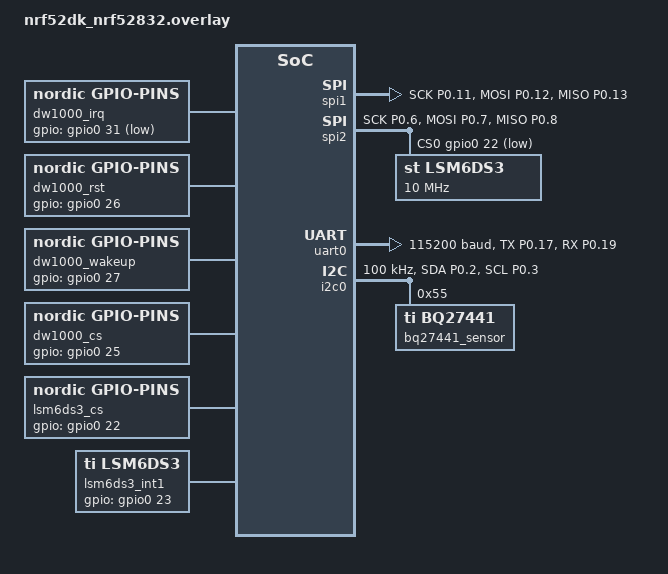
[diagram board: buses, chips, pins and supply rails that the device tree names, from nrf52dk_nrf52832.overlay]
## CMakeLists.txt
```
#
# Copyright (c) 2018 Nordic Semiconductor
#
# SPDX-License-Identifier: LicenseRef-Nordic-5-Clause
#
cmake_minimum_required(VERSION 3.20.0)

find_package(Zephyr REQUIRED HINTS $ENV{ZEPHYR_BASE})


project(peripheral_52832)

target_include_directories(app PRIVATE src/lib/platform)
target_include_directories(app PRIVATE src/lib/decadriver)
target_include_directories(app PRIVATE src/lib/dw_twr)
target_include_directories(app PRIVATE src/lib/bms_driver)
target_include_directories(app PRIVATE src/lib/imu_driver)

# NORDIC SDK APP START
target_sources(app PRIVATE
  src/main.c
  src/lib/platform/port.c
  src/lib/platform/deca_spi.c
  src/lib/platform/deca_port.c
  src/lib/decadriver/deca_device.c
  src/lib/decadriver/deca_params_init.c
  src/lib/dw_twr/node.c
  src/lib/bms_driver/bq27441_driver.c
  src/lib/imu_driver/lsm6ds3_spi_driver.c
  src/lib/imu_driver/lsm6ds3_angle.c
)

# NORDIC SDK APP END
```

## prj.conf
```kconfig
#
# Copyright (c) 2018 Nordic Semiconductor
#
# SPDX-License-Identifier: LicenseRef-Nordic-5-Clause
#

# Enable the UART driver
CONFIG_UART_ASYNC_API=y
CONFIG_NRFX_UARTE=y
CONFIG_SERIAL=y

CONFIG_GPIO=y
CONFIG_SPI=y
CONFIG_SPI_NRFX=y
CONFIG_I2C=y

# Make sure printk is printing to the UART console
CONFIG_CONSOLE=y
CONFIG_UART_CONSOLE=y

CONFIG_HEAP_MEM_POOL_SIZE=2048

CONFIG_BT=y
CONFIG_BT_PERIPHERAL=y
CONFIG_BT_DEVICE_NAME="Nordic_UART_Service"
CONFIG_BT_MAX_CONN=3
CONFIG_BT_MAX_PAIRED=1

# Enable the NUS service
CONFIG_BT_NUS=y

# Enable bonding
CONFIG_BT_SETTINGS=y
CONFIG_FLASH=y
CONFIG_FLASH_PAGE_LAYOUT=y
CONFIG_FLASH_MAP=y

# Enable DK LED and Buttons library
CONFIG_DK_LIBRARY=y

CONFIG_SYSTEM_WORKQUEUE_STACK_SIZE=2048
# Config logger
CONFIG_LOG=y
CONFIG_USE_SEGGER_RTT=y
CONFIG_LOG_BACKEND_RTT=y
CONFIG_LOG_BACKEND_UART=n
CONFIG_LOG_PRINTK=n

CONFIG_ASSERT=y

CONFIG_CBPRINTF_FP_SUPPORT=y
```

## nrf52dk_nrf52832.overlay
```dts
/ {

	/delete-node/ leds;
	/delete-node/ buttons;
	/delete-node/ pwmleds;

	/delete-node/ arduino_header;
	/delete-node/ arduino_adc;
	aliases{
		/delete-property/ led0;
		/delete-property/ led1;
		/delete-property/ led2;
		/delete-property/ led3;
		/delete-property/ sw0;
		/delete-property/ sw1;
		/delete-property/ sw2;
		/delete-property/ sw3;
		/delete-property/ pwm-led0;
		/delete-property/ mcuboot-button0;
		/delete-property/ mcuboot-led0;
		bq27441 = &bq27441_sensor;
		lsm6ds3-int1 = &lsm6ds3_int1;
	};

	dw1000_irq: dw1000-irq {
        compatible = "nordic,gpio-pins";
        gpios = <&gpio0 31 GPIO_ACTIVE_LOW>;
        status = "okay";
    };

	dw1000_rst: dw1000-rst {
        compatible = "nordic,gpio-pins";
        gpios = <&gpio0 26 GPIO_ACTIVE_HIGH>;
        status = "okay";
    };

	dw1000_wakeup: dw1000-waleup {
        compatible = "nordic,gpio-pins";
        gpios = <&gpio0 27 GPIO_ACTIVE_HIGH>;
        status = "okay";
    };

	dw1000_cs: dw1000-cs {
        compatible = "nordic,gpio-pins";
        gpios = <&gpio0 25 GPIO_ACTIVE_HIGH>;
        status = "okay";
    };
    	lsm6ds3_cs: lsm6ds3-cs {
        compatible = "nordic,gpio-pins";
        gpios = <&gpio0 22 GPIO_ACTIVE_HIGH>;
        status = "okay";
    };
    	lsm6ds3_int1: lsm6ds3-int1 {
	compatible = "ti,lsm6ds3";
        gpios = <&gpio0 23 GPIO_PULL_UP>;
        status = "okay";
    };
};



&pinctrl {
	spi1_default: spi1_default {
		group1 {
			psels = <NRF_PSEL(SPIM_SCK, 0, 11)>,
					<NRF_PSEL(SPIM_MOSI, 0, 12)>,
					<NRF_PSEL(SPIM_MISO, 0, 13)>;
		};
	};

	spi1_sleep: spi1_sleep {
		group1 {
			psels = <NRF_PSEL(SPIM_SCK, 0, 11)>,
					<NRF_PSEL(SPIM_MOSI, 0, 12)>,
					<NRF_PSEL(SPIM_MISO, 0, 13)>;
			low-power-enable;
		};
	};

	spi2_default: spi2_default {
		group1 {
			psels = <NRF_PSEL(SPIM_SCK, 0, 6)>,
					<NRF_PSEL(SPIM_MOSI, 0, 7)>,
					<NRF_PSEL(SPIM_MISO, 0, 8)>;
		};
	};

	spi2_sleep: spi2_sleep {
		group1 {
			psels = <NRF_PSEL(SPIM_SCK, 0, 6)>,
					<NRF_PSEL(SPIM_MOSI, 0, 7)>,
					<NRF_PSEL(SPIM_MISO, 0, 8)>;
			low-power-enable;
		};
	};

	uart0_default: uart0_default {
		group1 {
			psels = <NRF_PSEL(UART_TX, 0, 17)>,
				<NRF_PSEL(UART_RX, 0, 19)>;
		};
	};

	uart0_sleep: uart0_sleep {
		group1 {
			psels = <NRF_PSEL(UART_RX, 0, 19)>;
			low-power-enable;
		};

		group2 {
			psels = <NRF_PSEL(UART_TX, 0, 17)>;
			low-power-enable;
			bias-pull-up;
		};
	};

	i2c0_default: i2c0_default {
		group1 {
			psels = <NRF_PSEL(TWIM_SDA, 0, 2)>,
				    <NRF_PSEL(TWIM_SCL, 0, 3)>;
		};
	};

	i2c0_sleep: i2c0_sleep {
		group1 {
			psels = <NRF_PSEL(TWIM_SDA, 0, 2)>,
				    <NRF_PSEL(TWIM_SCL, 0, 3)>;
			low-power-enable;
		};
	};
};

&spi1 {
	compatible = "nordic,nrf-spi";
	status = "okay";
	pinctrl-0 = <&spi1_default>;
	pinctrl-1 = <&spi1_sleep>;
	pinctrl-names = "default", "sleep";
	cs-gpios = <&gpio0 25 GPIO_ACTIVE_HIGH>;
};

&spi2 {
	status = "okay";
	pinctrl-0 = <&spi2_default>;
	pinctrl-1 = <&spi2_sleep>;
	pinctrl-names = "default", "sleep";

	cs-gpios = <&gpio0 22 GPIO_ACTIVE_LOW>;

	lsm6ds3: lsm6ds3@0 {
		compatible = "st,lsm6ds3";
		reg = <0>;
		spi-max-frequency = <10000000>;
		frame-format = "spi-mode-0";
	};
};

&pwm0 {
	status = "disabled";
};

arduino_serial: &uart0 {
	status = "okay";
	compatible = "nordic,nrf-uarte";
	current-speed = <115200>;
	pinctrl-0 = <&uart0_default>;
	pinctrl-1 = <&uart0_sleep>;
	pinctrl-names = "default", "sleep";
};

&i2c0 {
	status = "okay";
	pinctrl-0 = <&i2c0_default>;
	pinctrl-1 = <&i2c0_sleep>;
	pinctrl-names = "default", "sleep";
	clock-frequency = <I2C_BITRATE_STANDARD>;

	bq27441_sensor: bq27441@55 {
		compatible = "ti,bq27441";
		reg = <0x55>;
		status = "okay";
	};
};
```

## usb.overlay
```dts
/*
 * Copyright (c) 2021 Nordic Semiconductor ASA
 *
 * SPDX-License-Identifier: LicenseRef-Nordic-5-Clause
 */

/ {
	chosen {
		zephyr,console = &cdc_acm_uart0;
		nordic,nus-uart = &cdc_acm_uart0;
	};
};

&zephyr_udc0 {
	cdc_acm_uart0: cdc_acm_uart0 {
		compatible = "zephyr,cdc-acm-uart";
	};
};

&pinctrl {

};
```

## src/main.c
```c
/*
 * Copyright (c) 2018 Nordic Semiconductor ASA
 *
 * SPDX-License-Identifier: LicenseRef-Nordic-5-Clause
 */

/** @file
 *  @brief Nordic UART Bridge Service (NUS) sample
 */
#include <uart_async_adapter.h>

#include <zephyr/types.h>
#include <zephyr/kernel.h>
#include <zephyr/drivers/uart.h>

#include <zephyr/device.h>
#include <zephyr/devicetree.h>
#include <soc.h>

#include <zephyr/bluetooth/bluetooth.h>
#include <zephyr/bluetooth/uuid.h>
#include <zephyr/bluetooth/gatt.h>
#include <zephyr/bluetooth/hci.h>

#include <bluetooth/services/nus.h>

#include <zephyr/settings/settings.h>

#include <stdio.h>
#include <string.h>

#include <zephyr/logging/log.h>
#include <zephyr/drivers/i2c.h>

#include "node.h"
#include "port.h"
#include "bq27441_driver.h"
#include "lsm6ds3_spi_driver.h"
#include "lsm6ds3_angle.h"

#define LOG_MODULE_NAME peripheral_uart
LOG_MODULE_REGISTER(LOG_MODULE_NAME);

#define STACKSIZE CONFIG_BT_NUS_THREAD_STACK_SIZE
#define PRIORITY 7

#define DEVICE_NAME CONFIG_BT_DEVICE_NAME
#define DEVICE_NAME_LEN	(sizeof(DEVICE_NAME) - 1)

// #define RUN_STATUS_LED DK_LED1
// #define RUN_LED_BLINK_INTERVAL 1000

#define KEY_PASSKEY_ACCEPT DK_BTN1_MSK
#define KEY_PASSKEY_REJECT DK_BTN2_MSK

#define UART_BUF_SIZE CONFIG_BT_NUS_UART_BUFFER_SIZE
#define UART_WAIT_FOR_BUF_DELAY K_MSEC(50)
#define UART_WAIT_FOR_RX CONFIG_BT_NUS_UART_RX_WAIT_TIME

static K_SEM_DEFINE(ble_init_ok, 0, 1);

static struct bt_conn *current_conn;
static struct bt_conn *auth_conn;
static struct k_work adv_work;

#if DT_HAS_CHOSEN(nordic_nus_uart)
#define NUS_UART_NODE DT_CHOSEN(nordic_nus_uart)
#elif DT_HAS_CHOSEN(zephyr_shell_uart)
#define NUS_UART_NODE DT_CHOSEN(zephyr_shell_uart)
#else
#error "No NUS UART: add chosen 'nordic,nus-uart' to devicetree (e.g. in a board overlay)."
#endif
static const struct device *uart = DEVICE_DT_GET(NUS_UART_NODE);
static struct k_work_delayable uart_work;

static const struct spi_dt_spec imu_cfg = {
	.bus = DEVICE_DT_GET(DT_NODELABEL(spi2)),
	.config = {
		.cs = {{{0}}},
		.operation = SPI_OP_MODE_MASTER | SPI_TRANSFER_MSB | SPI_WORD_SET(8),
		.frequency = 10000000U,
		.slave = 0,
		.word_delay = 0,
	},
};

static void motion_work_handler(struct k_work *work);
K_WORK_DEFINE(motion_work, motion_work_handler);

struct uart_data_t {
	void *fifo_reserved;
	uint8_t data[UART_BUF_SIZE];
	uint16_t len;
};

static K_FIFO_DEFINE(fifo_uart_tx_data);
static K_FIFO_DEFINE(fifo_uart_rx_data);

static const struct bt_data ad[] = {
	BT_DATA_BYTES(BT_DATA_FLAGS, (BT_LE_AD_GENERAL | BT_LE_AD_NO_BREDR)),
	BT_DATA(BT_DATA_NAME_COMPLETE, DEVICE_NAME, DEVICE_NAME_LEN),
};

static const struct bt_data sd[] = {
	BT_DATA_BYTES(BT_DATA_UUID128_ALL, BT_UUID_NUS_VAL),
};

#ifdef CONFIG_UART_ASYNC_ADAPTER
UART_ASYNC_ADAPTER_INST_DEFINE(async_adapter);
#else
#define async_adapter NULL
#endif

static void uart_cb(const struct device *dev, struct uart_event *evt, void *user_data)
{
	ARG_UNUSED(dev);

	static size_t aborted_len;
	struct uart_data_t *buf;
	static uint8_t *aborted_buf;
	static bool disable_req;

	switch (evt->type) {
	case UART_TX_DONE:
		LOG_INF("UART_TX_DONE");
		if ((evt->data.tx.len == 0) ||
		    (!evt->data.tx.buf)) {
			return;
		}

		if (aborted_buf) {
			buf = CONTAINER_OF(aborted_buf, struct uart_data_t,
					   data[0]);
			aborted_buf = NULL;
			aborted_len = 0;
		} else {
			buf = CONTAINER_OF(evt->data.tx.buf, struct uart_data_t,
					   data[0]);
		}

		k_free(buf);

		buf = k_fifo_get(&fifo_uart_tx_data, K_NO_WAIT);
		if (!buf) {
			return;
		}

		if (uart_tx(uart, buf->data, buf->len, SYS_FOREVER_MS)) {
			LOG_INF("Failed to send data over UART");
		}

		break;

	case UART_RX_RDY:
		LOG_INF("UART_RX_RDY");
		buf = CONTAINER_OF(evt->data.rx.buf, struct uart_data_t, data[0]);
		buf->len += evt->data.rx.len;

		if (disable_req) {
			return;
		}

		if ((evt->data.rx.buf[buf->len - 1] == '\n') ||
		    (evt->data.rx.buf[buf->len - 1] == '\r')) {
			disable_req = true;
			uart_rx_disable(uart);
		}

		break;

	case UART_RX_DISABLED:
		LOG_INF("UART_RX_DISABLED");
		disable_req = false;

		buf = k_malloc(sizeof(*buf));
		if (buf) {
			buf->len = 0;
		} else {
			LOG_WRN("Not able to allocate UART receive buffer");
			k_work_reschedule(&uart_work, UART_WAIT_FOR_BUF_DELAY);
			return;
		}

		uart_rx_enable(uart, buf->data, sizeof(buf->data),
			       UART_WAIT_FOR_RX);

		break;

	case UART_RX_BUF_REQUEST:
		LOG_INF("UART_RX_BUF_REQUEST");
		buf = k_malloc(sizeof(*buf));
		if (buf) {
			buf->len = 0;
			uart_rx_buf_rsp(uart, buf->data, sizeof(buf->data));
		} else {
			LOG_WRN("Not able to allocate UART receive buffer");
		}

		break;

	case UART_RX_BUF_RELEASED:
		LOG_INF("UART_RX_BUF_RELEASED");
		buf = CONTAINER_OF(evt->data.rx_buf.buf, struct uart_data_t,
				   data[0]);

		if (buf->len > 0) {
			k_fifo_put(&fifo_uart_rx_data, buf);
		} else {
			k_free(buf);
		}

		break;

	case UART_TX_ABORTED:
		LOG_INF("UART_TX_ABORTED");
		if (!aborted_buf) {
			aborted_buf = (uint8_t *)evt->data.tx.buf;
		}

		aborted_len += evt->data.tx.len;
		buf = CONTAINER_OF((void *)aborted_buf, struct uart_data_t,
				   data);

		uart_tx(uart, &buf->data[aborted_len],
			buf->len - aborted_len, SYS_FOREVER_MS);

		break;

	default:
		break;
	}
}

static void uart_work_handler(struct k_work *item)
{
	struct uart_data_t *buf;

	buf = k_malloc(sizeof(*buf));
	if (buf) {
		buf->len = 0;
	} else {
		LOG_WRN("Not able to allocate UART receive buffer");
		k_work_reschedule(&uart_work, UART_WAIT_FOR_BUF_DELAY);
		return;
	}

	uart_rx_enable(uart, buf->data, sizeof(buf->data), UART_WAIT_FOR_RX);
}

static bool uart_test_async_api(const struct device *dev)
{
	const struct uart_driver_api *api =
			(const struct uart_driver_api *)dev->api;

	return (api->callback_set != NULL);
}

static int uart_init(void)
{
	int err;
	struct uart_data_t *rx;

	if (!device_is_ready(uart)) {
		return -ENODEV;
	}

	rx = k_malloc(sizeof(*rx));
	if (rx) {
		rx->len = 0;
	} else {
		return -ENOMEM;
	}

	k_work_init_delayable(&uart_work, uart_work_handler);


	if (IS_ENABLED(CONFIG_UART_ASYNC_ADAPTER) && !uart_test_async_api(uart)) {
		/* Implement API adapter */
		uart_async_adapter_init(async_adapter, uart);
		uart = async_adapter;
	}

	err = uart_callback_set(uart, uart_cb, NULL);
	if (err) {
		k_free(rx);
		LOG_ERR("Cannot initialize UART callback");
		return err;
	}

	if (IS_ENABLED(CONFIG_UART_LINE_CTRL)) {
		LOG_INF("Wait for DTR");
		while (true) {
			uint32_t dtr = 0;

			uart_line_ctrl_get(uart, UART_LINE_CTRL_DTR, &dtr);
			if (dtr) {
				break;
			}
			/* Give CPU resources to low priority threads. */
			k_sleep(K_MSEC(100));
		}
		LOG_INF("DTR set");
		err = uart_line_ctrl_set(uart, UART_LINE_CTRL_DCD, 1);
		if (err) {
			LOG_WRN("Failed to set DCD, ret code %d", err);
		}
		err = uart_line_ctrl_set(uart, UART_LINE_CTRL_DSR, 1);
		if (err) {
			LOG_WRN("Failed to set DSR, ret code %d", err);
		}
	}

	err = uart_rx_enable(uart, rx->data, sizeof(rx->data), UART_WAIT_FOR_RX);
	if (err) {
		LOG_ERR("Cannot enable uart reception (err: %d)", err);
		/* Free the rx buffer only because the tx buffer will be handled in the callback */
		k_free(rx);
	}

	return err;
}

static void adv_work_handler(struct k_work *work)
{
	int err = bt_le_adv_start(BT_LE_ADV_CONN_FAST_2, ad, ARRAY_SIZE(ad), sd, ARRAY_SIZE(sd));

	if (err) {
		LOG_ERR("Advertising failed to start (err %d)", err);
		return;
	}

	LOG_INF("Advertising successfully started");
}

static void advertising_start(void)
{
	k_work_submit(&adv_work);
}

static void connected(struct bt_conn *conn, uint8_t err)
{
	char addr[BT_ADDR_LE_STR_LEN];

	if (err) {
		LOG_ERR("Connection failed, err 0x%02x %s", err, bt_hci_err_to_str(err));
		return;
	}

	bt_addr_le_to_str(bt_conn_get_dst(conn), addr, sizeof(addr));
	LOG_INF("Connected %s", addr);

	current_conn = bt_conn_ref(conn);

}

static void disconnected(struct bt_conn *conn, uint8_t reason)
{
	char addr[BT_ADDR_LE_STR_LEN];

	bt_addr_le_to_str(bt_conn_get_dst(conn), addr, sizeof(addr));

	LOG_INF("Disconnected: %s, reason 0x%02x %s", addr, reason, bt_hci_err_to_str(reason));

	if (auth_conn) {
		bt_conn_unref(auth_conn);
		auth_conn = NULL;
	}

	if (current_conn) {
		bt_conn_unref(current_conn);
		current_conn = NULL;
	}
}

static void recycled_cb(void)
{
	LOG_INF("Connection object available from previous conn. Disconnect is complete!");
	advertising_start();
}

#ifdef CONFIG_BT_NUS_SECURITY_ENABLED
static void security_changed(struct bt_conn *conn, bt_security_t level,
			     enum bt_security_err err)
{
	char addr[BT_ADDR_LE_STR_LEN];

	bt_addr_le_to_str(bt_conn_get_dst(conn), addr, sizeof(addr));

	if (!err) {
		LOG_INF("Security changed: %s level %u", addr, level);
	} else {
		LOG_WRN("Security failed: %s level %u err %d %s", addr, level, err,
			bt_security_err_to_str(err));
	}
}
#endif

BT_CONN_CB_DEFINE(conn_callbacks) = {
	.connected        = connected,
	.disconnected     = disconnected,
	.recycled         = recycled_cb,
#ifdef CONFIG_BT_NUS_SECURITY_ENABLED
	.security_changed = security_changed,
#endif
};

#if defined(CONFIG_BT_NUS_SECURITY_ENABLED)
static void auth_passkey_display(struct bt_conn *conn, unsigned int passkey)
{
	char addr[BT_ADDR_LE_STR_LEN];

	bt_addr_le_to_str(bt_conn_get_dst(conn), addr, sizeof(addr));

	LOG_INF("Passkey for %s: %06u", addr, passkey);
}

static void auth_passkey_confirm(struct bt_conn *conn, unsigned int passkey)
{
	char addr[BT_ADDR_LE_STR_LEN];

	auth_conn = bt_conn_ref(conn);

	bt_addr_le_to_str(bt_conn_get_dst(conn), addr, sizeof(addr));

	LOG_INF("Passkey for %s: %06u", addr, passkey);

	if (IS_ENABLED(CONFIG_SOC_SERIES_NRF54H) || IS_ENABLED(CONFIG_SOC_SERIES_NRF54L)) {
		LOG_INF("Press Button 0 to confirm, Button 1 to reject.");
	} else {
		LOG_INF("Press Button 1 to confirm, Button 2 to reject.");
	}
}


static void auth_cancel(struct bt_conn *conn)
{
	char addr[BT_ADDR_LE_STR_LEN];

	bt_addr_le_to_str(bt_conn_get_dst(conn), addr, sizeof(addr));

	LOG_INF("Pairing cancelled: %s", addr);
}


static void pairing_complete(struct bt_conn *conn, bool bonded)
{
	char addr[BT_ADDR_LE_STR_LEN];

	bt_addr_le_to_str(bt_conn_get_dst(conn), addr, sizeof(addr));

	LOG_INF("Pairing completed: %s, bonded: %d", addr, bonded);
}


static void pairing_failed(struct bt_conn *conn, enum bt_security_err reason)
{
	char addr[BT_ADDR_LE_STR_LEN];

	bt_addr_le_to_str(bt_conn_get_dst(conn), addr, sizeof(addr));

	LOG_INF("Pairing failed conn: %s, reason %d %s", addr, reason,
		bt_security_err_to_str(reason));
}

static struct bt_conn_auth_cb conn_auth_callbacks = {
	.passkey_display = auth_passkey_display,
	.passkey_confirm = auth_passkey_confirm,
	.cancel = auth_cancel,
};

static struct bt_conn_auth_info_cb conn_auth_info_callbacks = {
	.pairing_complete = pairing_complete,
	.pairing_failed = pairing_failed
};
#else
static struct bt_conn_auth_cb conn_auth_callbacks;
static struct bt_conn_auth_info_cb conn_auth_info_callbacks;
#endif

static void bt_receive_cb(struct bt_conn *conn, const uint8_t *const data,
			  uint16_t len)
{
	int err;
	char addr[BT_ADDR_LE_STR_LEN] = {0};

	bt_addr_le_to_str(bt_conn_get_dst(conn), addr, ARRAY_SIZE(addr));

	LOG_INF("Received data from: %s", addr);

	for (uint16_t pos = 0; pos != len;) {
		struct uart_data_t *tx = k_malloc(sizeof(*tx));

		if (!tx) {
			LOG_WRN("Not able to allocate UART send data buffer");
			return;
		}

		/* Keep the last byte of TX buffer for potential LF char. */
		size_t tx_data_size = sizeof(tx->data) - 1;

		if ((len - pos) > tx_data_size) {
			tx->len = tx_data_size;
		} else {
			tx->len = (len - pos);
		}

		memcpy(tx->data, &data[pos], tx->len);

		pos += tx->len;

		/* Append the LF character when the CR character triggered
		 * transmission from the peer.
		 */
		if ((pos == len) && (data[len - 1] == '\r')) {
			tx->data[tx->len] = '\n';
			tx->len++;
		}

		err = uart_tx(uart, tx->data, tx->len, SYS_FOREVER_MS);
		if (err) {
			k_fifo_put(&fifo_uart_tx_data, tx);
		}
	}
}

static struct bt_nus_cb nus_cb = {
	.received = bt_receive_cb,
};

/* 运动中断回调函数，在中断上下文！不能做耗时操作，只置标志 */
static void motion_event_cb(void)
{
    printf("==== MOTION DETECTED ====\r\n");
    /* 中断上下文禁止printf/k_sleep；仅设置事件信号量/工作队列 */
    k_work_submit(&motion_work);
}

static void motion_work_handler(struct k_work *work)
{
    ARG_UNUSED(work);
    struct lsm6ds3_data imu;
    int ret = lsm6ds3_read_data(&imu_cfg, &imu);
    if(ret == 0)
    {
        printf("ACC X:%d Y:%d Z:%d\r\n", imu.acc_x, imu.acc_y, imu.acc_z);
    }
}

void test_spi_gpio()
{
	const struct device *gpio = DEVICE_DT_GET(DT_NODELABEL(gpio0));
	gpio_pin_configure(gpio,6,GPIO_OUTPUT);
	gpio_pin_configure(gpio,7,GPIO_OUTPUT);
	gpio_pin_configure(gpio,8,GPIO_OUTPUT);
	gpio_pin_configure(gpio,22,GPIO_OUTPUT);

	if(1)
	{
		gpio_pin_toggle(gpio,6);
		gpio_pin_toggle(gpio,7);
		gpio_pin_toggle(gpio,22);
		k_msleep(200);
	}
}

int main(void)
{
	static int64_t last_time = 0;
	// int blink_status = 0;
	dw1000_configure_gpio();
	int err = 0;
#if 1
	err = uart_init();
	if (err) {
		// error();
	}
#endif
	if (IS_ENABLED(CONFIG_BT_NUS_SECURITY_ENABLED)) {
		err = bt_conn_auth_cb_register(&conn_auth_callbacks);
		if (err) {
			LOG_ERR("Failed to register authorization callbacks. (err: %d)", err);
			return 0;
		}

		err = bt_conn_auth_info_cb_register(&conn_auth_info_callbacks);
		if (err) {
			LOG_ERR("Failed to register authorization info callbacks. (err: %d)", err);
			return 0;
		}
	}

	err = bt_enable(NULL);
	if (err) {
		// error();
	}

	LOG_INF("Bluetooth initialized");

	k_sem_give(&ble_init_ok);

	if (IS_ENABLED(CONFIG_SETTINGS)) {
		settings_load();
	}

	err = bt_nus_init(&nus_cb);
	if (err) {
		LOG_ERR("Failed to initialize UART service (err: %d)", err);
		return 0;
	}

	k_work_init(&adv_work, adv_work_handler);
	advertising_start();

	node_process_init();
	bq27441_init();
	k_msleep(200);
	// i2c_bus_scan();
	// k_msleep(2000);

	int ret = lsm6ds3_init(&imu_cfg, motion_event_cb);
    if(ret !=0)
    {
        printf("lsm6ds3 init fail %d", ret);
        return -1;
    }

    printf("lsm6ds3 running, waiting motion interrupt(P0.23)\r\n");

	for (;;) {
		k_msleep(200 * 1);
		if(k_uptime_get() - last_time > 5000)
		{
			// 5s更新一次
			last_time = k_uptime_get();
			bms_status_update();
		}
		dw1000_sendpoll();
#if 1
		struct lsm6ds3_data imu;
		int ret = lsm6ds3_read_data(&imu_cfg, &imu);
		if(ret == 0)
		{
			// float full_scale_g = 2;
			lsm6ds3_attitude_t att = {0};
			lsm6ds3_accel_calc_attitude(imu.acc_x, imu.acc_y, imu.acc_z, 2, &att);
			printf("ACC roll:%f pitch:%f\r\n", att.roll, att.pitch);
		}
#endif
		// test_spi_gpio();
		// iic_gpio_test();

		// printf("********************111************\r");
	}
}

void ble_write_thread(void)
{
	/* Don't go any further until BLE is initialized */
	k_sem_take(&ble_init_ok, K_FOREVER);
	struct uart_data_t nus_data = {
		.len = 0,
	};

	for (;;) {
		/* Wait indefinitely for data to be sent over bluetooth */
		struct uart_data_t *buf = k_fifo_get(&fifo_uart_rx_data,
						     K_FOREVER);

		int plen = MIN(sizeof(nus_data.data) - nus_data.len, buf->len);
		int loc = 0;

		while (plen > 0) {
			memcpy(&nus_data.data[nus_data.len], &buf->data[loc], plen);
			nus_data.len += plen;
			loc += plen;

			if (nus_data.len >= sizeof(nus_data.data) ||
			   (nus_data.data[nus_data.len - 1] == '\n') ||
			   (nus_data.data[nus_data.len - 1] == '\r')) {
				if (bt_nus_send(NULL, nus_data.data, nus_data.len)) {
					LOG_WRN("Failed to send data over BLE connection");
				}
				nus_data.len = 0;
			}

			plen = MIN(sizeof(nus_data.data), buf->len - loc);
		}

		k_free(buf);
	}
}

K_THREAD_DEFINE(ble_write_thread_id, STACKSIZE, ble_write_thread, NULL, NULL,
		NULL, PRIORITY, 0, 0);
```
